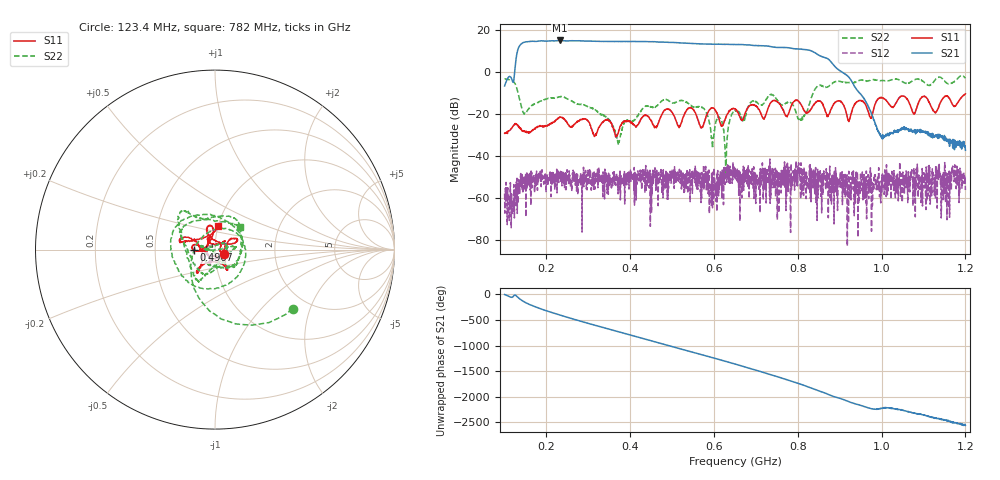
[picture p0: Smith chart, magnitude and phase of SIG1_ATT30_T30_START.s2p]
# Hz S DB R 50
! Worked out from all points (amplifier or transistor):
!   1601 points, 100 MHz to 1.2 GHz, reference 50 ohm
!   highest |S21| = 14.8 dB at 232 MHz (marker M1)
!   |S21| within 3 dB of that: 134.3 MHz to 737.7 MHz (603.4 MHz wide, 138 % of centre) (the widest 1 of 2)
!   unconditionally stable (mu >= 1): start of sweep to end of sweep
!   at 282.9 MHz: K = 26.88, MAG = 14.7 dB, |S12| = -49.5 dB
!   at 650 MHz: K = 25.87, MAG = 13.0 dB, |S12| = -47.4 dB
!   at 1.2 GHz: K = 11685.23, MAG = -34.2 dB, |S12| = -56.4 dB
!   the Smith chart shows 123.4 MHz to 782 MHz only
!   S11 on the Smith chart (normalised r, x): 123.4 MHz: 1.10, -0.05; 496.7 MHz: 0.79, -0.00; 782 MHz: 1.00, +0.26
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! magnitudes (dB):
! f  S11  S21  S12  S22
! 100 MHz  -29.4  -6.8  -58.1  -3.6
! 123.4 MHz  -25.4  -1.5  -69.7  -5.3
! 148.1 MHz  -28.4  14.0  -50.2  -20.0
! 232 MHz  -21.9  14.8  -48.2  -12.0
! 283.6 MHz  -23.0  14.6  -50.7  -15.6
! 370.9 MHz  -29.4  14.3  -58.2  -33.5
! 467.1 MHz  -24.5  14.1  -50.1  -15.5
! 496.7 MHz  -18.6  13.8  -48.1  -14.6
! 573.7 MHz  -25.7  13.1  -48.7  -17.3
! 595.7 MHz  -17.2  13.0  -49.0  -34.6
! 612.9 MHz  -23.2  13.0  -50.4  -21.9
! 628 MHz  -22.1  12.9  -47.4  -49.0
! 650 MHz  -17.8  12.8  -47.4  -18.6
! 782 MHz  -17.7  11.2  -59.0  -14.7
! 806.8 MHz  -15.5  10.7  -60.6  -23.2
! 833.6 MHz  -17.2  9.7  -47.1  -11.7
! 899.6 MHz  -14.0  0.5  -53.4  -4.7
! 920.9 MHz  -23.2  -2.5  -72.1  -5.2
! 945.6 MHz  -13.8  -9.8  -62.6  -4.3
! 1.017 GHz  -15.3  -30.6  -50.1  -4.3
! 1.129 GHz  -19.7  -30.1  -60.5  -3.8
! 1.2 GHz  -10.6  -37.5  -56.4  -3.2
